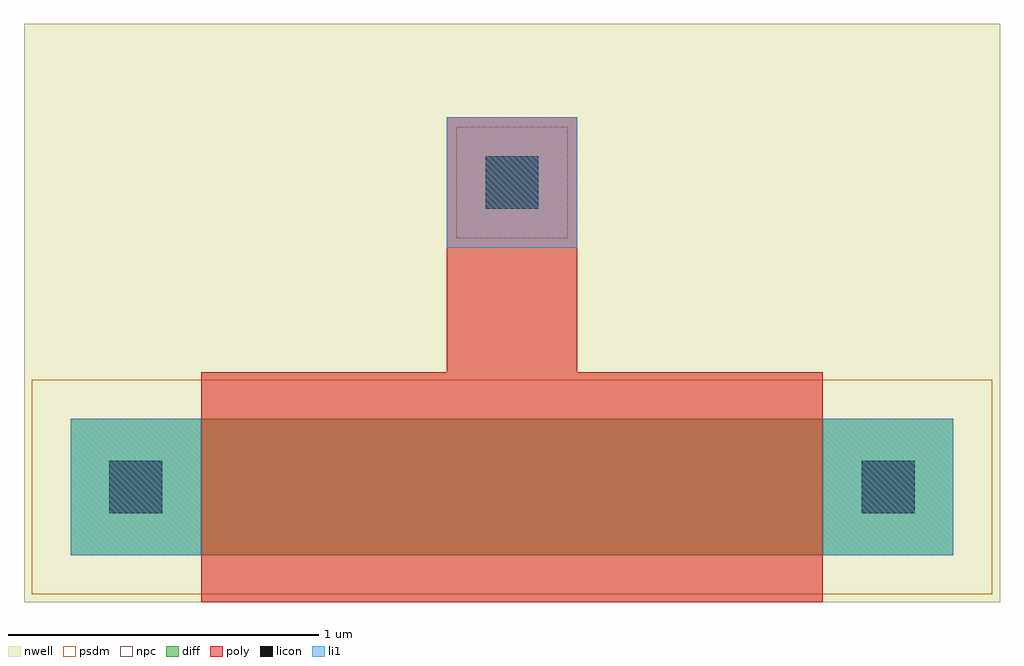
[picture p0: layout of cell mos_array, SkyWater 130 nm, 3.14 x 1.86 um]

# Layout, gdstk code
import gdstk
lib = gdstk.Library(unit=1e-6, precision=1e-09)
def R(c, l, rs):  # rectangles x0, y0, x1, y1
    for r in rs: c.add(gdstk.rectangle(r[:2], r[2:], *l))
nwell = (64, 20)
diff = (65, 20)
poly = (66, 20)
licon = (66, 44)
li1 = (67, 20)
psdm = (94, 20)
npc = (95, 20)

mos_array = lib.new_cell('mos_array')
R(mos_array, nwell, [(-0.15,-0.15,2.99,1.71)])
R(mos_array, diff, [(0,0,2.84,0.44)])
R(mos_array, poly, [(0.42,-0.15,2.42,0.44), (0.42,0.44,2.42,0.59), (0.42,0.44,2.42,0.59), (1.21,0.59,1.63,1.41)])
R(mos_array, licon, [(0.125,0.135,0.295,0.305), (2.545,0.135,2.715,0.305), (1.335,1.115,1.505,1.285)])
R(mos_array, li1, [(0,0,0.42,0.44), (2.42,0,2.84,0.44), (1.21,0.99,1.63,1.41)])
R(mos_array, psdm, [(-0.125,-0.125,2.965,0.565)])
R(mos_array, npc, [(1.24,1.02,1.6,1.38)])

lib.write_gds('mos_array.gds')
